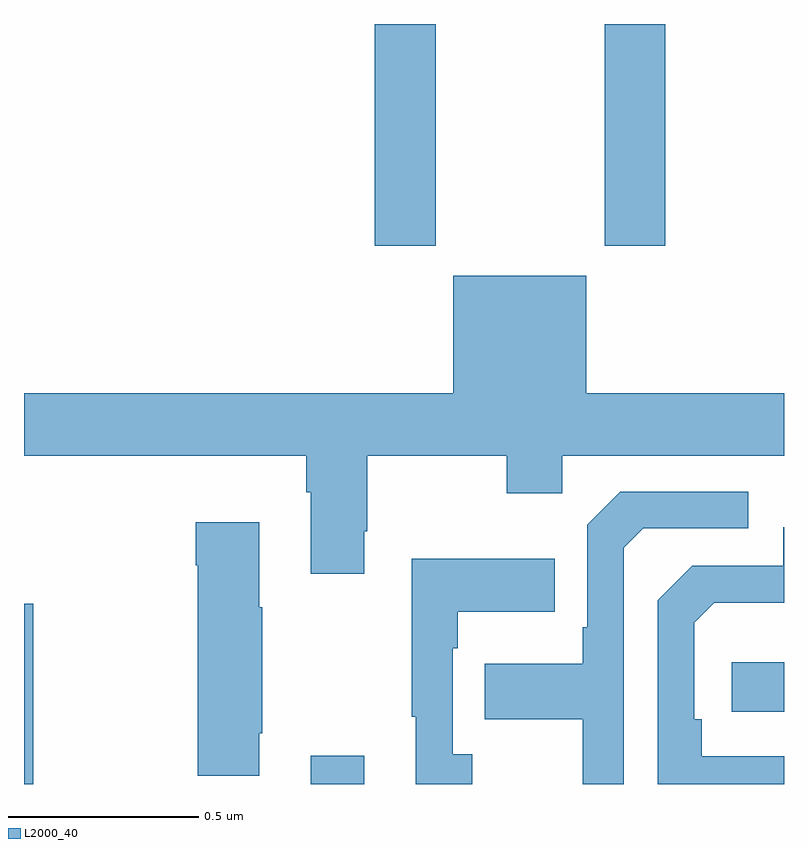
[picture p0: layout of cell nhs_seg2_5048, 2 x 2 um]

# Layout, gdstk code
import gdstk
lib = gdstk.Library(unit=1e-6, precision=1e-09)
def R(c, l, rs):  # rectangles x0, y0, x1, y1
    for r in rs: c.add(gdstk.rectangle(r[:2], r[2:], *l))
def P(c, l, *ps):  # polygons
    for p in ps: c.add(gdstk.Polygon(p, *l))
L2000_40 = (2000, 40)

nhs_seg2_5048 = lib.new_cell('nhs_seg2_5048')
R(nhs_seg2_5048, L2000_40, [(174,618.8,174.024,619.275), (174.755,618.8,174.895,618.874), (175.863,618.99,176,619.12), (174.923,620.217,175.083,620.8), (175.528,620.217,175.688,620.8)])
P(nhs_seg2_5048, L2000_40, [(174.895,619.465),(174.903,619.465),(174.903,619.664),(175.27,619.664),(175.27,619.565),(175.416,619.565),(175.416,619.664),(176,619.664),(176,619.828),(175.48,619.828),(175.48,620.137),(175.13,620.137),(175.13,619.828),(174,619.828),(174,619.664),(174.743,619.664),(174.743,619.568),(174.755,619.568),(174.755,619.353),(174.895,619.353)],
  [(175.578,619.422),(175.629,619.473),(175.906,619.473),(175.906,619.569),(175.569,619.569),(175.482,619.482),(175.482,619.213),(175.47,619.213),(175.47,619.117),(175.213,619.117),(175.213,618.97),(175.47,618.97),(175.47,618.8),(175.578,618.8)],
  [(174.619,618.934),(174.627,618.934),(174.627,619.265),(174.619,619.265),(174.619,619.489),(174.452,619.489),(174.452,619.376),(174.457,619.376),(174.457,618.822),(174.619,618.822)],
  [(176,618.873),(175.784,618.873),(175.784,618.97),(175.764,618.97),(175.764,619.224),(175.817,619.277),(176,619.277),(176,619.476),(175.998,619.476),(175.998,619.374),(175.758,619.374),(175.668,619.284),(175.668,618.8),(176,618.8)],
  [(175.18,618.878),(175.128,618.878),(175.128,619.157),(175.141,619.157),(175.141,619.253),(175.397,619.253),(175.397,619.393),(175.02,619.393),(175.02,618.977),(175.031,618.977),(175.031,618.8),(175.18,618.8)])

lib.write_gds('nhs_seg2_5048.gds')
